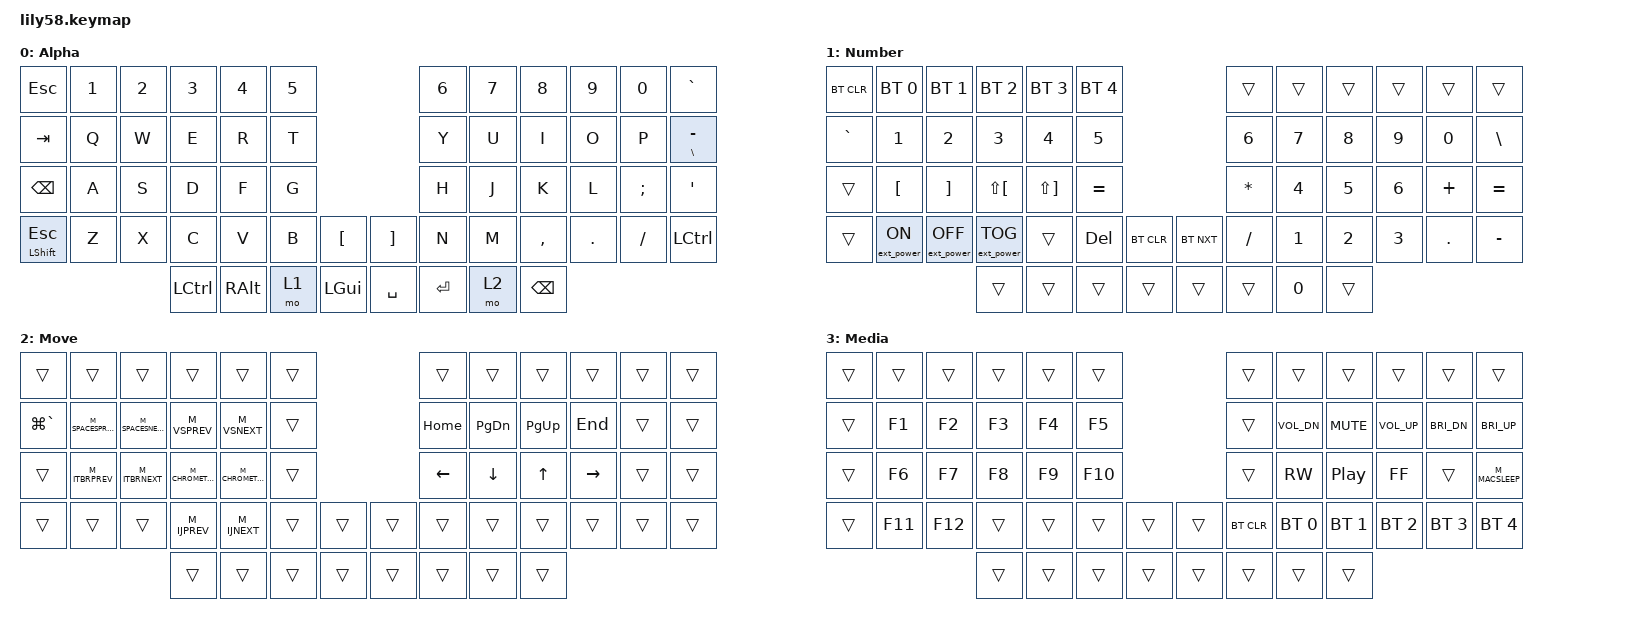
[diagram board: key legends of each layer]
/*
 * Copyright (c) 2020 The ZMK Contributors
 *
 * SPDX-License-Identifier: MIT
 */

#include <behaviors.dtsi>
#include <dt-bindings/zmk/bt.h>
#include <dt-bindings/zmk/ext_power.h>
#include <dt-bindings/zmk/keys.h>

/ {
    combos {
        compatible = "zmk,combos";

        BRACKETS {
            bindings = <&mt RIGHT_BRACKET LBKT>;
            key-positions = <9 10>;
            layers = <0>;
        };
    };

    conditional_layers {
        compatible = "zmk,conditional-layers";

        tri_layer {
            if-layers = <1 2>;
            then-layer = <3>;
        };
    };

    macros {
        M_VSPREV: M_VSPREV {
            compatible = "zmk,behavior-macro";
            label = "M_VSPREV";
            #binding-cells = <0>;
            bindings = <&kp LC(MINUS)>;
        };
        M_VSNEXT: M_VSNEXT {
            compatible = "zmk,behavior-macro";
            label = "M_VSNEXT";
            #binding-cells = <0>;
            bindings = <&kp LC(LS(MINUS))>;
        };
        M_IJPREV: M_IJPREV {
            compatible = "zmk,behavior-macro";
            label = "M_IJPREV";
            #binding-cells = <0>;
            bindings = <&kp LG(LBKT)>;
        };
        M_IJNEXT: M_IJNEXT {
            compatible = "zmk,behavior-macro";
            label = "M_IJNEXT";
            #binding-cells = <0>;
            bindings = <&kp LG(RBKT)>;
        };
        M_ITBRPREV: M_ITBRPREV {
            compatible = "zmk,behavior-macro";
            label = "M_ITBRPREV";
            #binding-cells = <0>;
            bindings = <&kp LG(LEFT)>;
        };
        M_ITBRNEXT: M_ITBRNEXT {
            compatible = "zmk,behavior-macro";
            label = "M_ITBRNEXT";
            #binding-cells = <0>;
            bindings = <&kp LG(RIGHT)>;
        };
        M_SPACESNEXT: M_SPACESNEXT {
            compatible = "zmk,behavior-macro";
            label = "M_SPACESNEXT";
            #binding-cells = <0>;
            bindings = <&kp LC(RIGHT)>;
        };
        M_SPACESPREV: M_SPACESPREV {
            compatible = "zmk,behavior-macro";
            label = "M_SPACESPREV";
            #binding-cells = <0>;
            bindings = <&kp LC(LEFT)>;
        };
        M_CHROMETABNEXT: M_CHROMETABNEXT {
            compatible = "zmk,behavior-macro";
            label = "M_CHROMETABNEXT";
            #binding-cells = <0>;
            bindings = <&kp LG(LA(RIGHT))>;
        };
        M_CHROMETABPREV: M_CHROMETABPREV {
            compatible = "zmk,behavior-macro";
            label = "M_CHROMETABPREV";
            #binding-cells = <0>;
            bindings = <&kp LG(LA(LEFT))>;
        };
        M_MACSLEEP: M_MACSLEEP {
            compatible = "zmk,behavior-macro";
            label = "M_MACSLEEP";
            #binding-cells = <0>;
            bindings = <&kp LG(LA(C_EJECT))>;
        };
    };

    keymap {
        compatible = "zmk,keymap";

        BASE_LAYER {
            label = "Alpha";
            bindings = <
       &kp ESC  &kp N1  &kp N2     &kp N3    &kp N4  &kp N5                          &kp N6  &kp N7         &kp N8   &kp N9    &kp N0            &kp GRAVE
       &kp TAB   &kp Q   &kp W      &kp E     &kp R   &kp T                           &kp Y   &kp U          &kp I    &kp O     &kp P  &mt BACKSLASH MINUS
      &kp BSPC   &kp A   &kp S      &kp D     &kp F   &kp G                           &kp H   &kp J          &kp K    &kp L  &kp SEMI              &kp SQT
&mt LSHIFT ESC   &kp Z   &kp X      &kp C     &kp V   &kp B  &kp LBKT     &kp RBKT    &kp N   &kp M      &kp COMMA  &kp DOT  &kp FSLH            &kp LCTRL
                                &kp LCTRL  &kp RALT   &mo 1  &kp LGUI    &kp SPACE  &kp RET   &mo 2  &kp BACKSPACE
            >;

//                        sensor-bindings = <&inc_dec_kp C_VOL_UP C_VOL_DN>;
        };

        NUM_LAYER {
            label = "Number";
            bindings = <
&bt BT_CLR      &bt BT_SEL 0       &bt BT_SEL 1       &bt BT_SEL 2  &bt BT_SEL 3  &bt BT_SEL 4                               &trans  &trans  &trans  &trans    &trans     &trans
 &kp GRAVE            &kp N1             &kp N2             &kp N3        &kp N4        &kp N5                               &kp N6  &kp N7  &kp N8  &kp N9    &kp N0   &kp BSLH
    &trans          &kp LBKT           &kp RBKT       &kp LS(LBKT)  &kp LS(RBKT)     &kp EQUAL                            &kp ASTRK  &kp N4  &kp N5  &kp N6  &kp PLUS  &kp EQUAL
    &trans  &ext_power EP_ON  &ext_power EP_OFF  &ext_power EP_TOG        &trans    &kp DELETE  &bt BT_CLR    &bt BT_NXT  &kp SLASH  &kp N1  &kp N2  &kp N3   &kp DOT  &kp MINUS
                                                            &trans        &trans        &trans  &trans        &trans         &trans  &kp N0  &trans
            >;

//                        sensor-bindings = <&inc_dec_kp C_VOL_UP C_VOL_DN>;
        };

        NAV_LAYER {
            label = "Move";
            bindings = <
       &trans         &trans         &trans            &trans            &trans  &trans                            &trans         &trans        &trans           &trans  &trans  &trans
&kp LG(GRAVE)  &M_SPACESPREV  &M_SPACESNEXT         &M_VSPREV         &M_VSNEXT  &trans                          &kp HOME  &kp PAGE_DOWN     &kp PG_UP          &kp END  &trans  &trans
       &trans    &M_ITBRPREV    &M_ITBRNEXT  &M_CHROMETABPREV  &M_CHROMETABNEXT  &trans                    &kp LEFT_ARROW       &kp DOWN  &kp UP_ARROW  &kp RIGHT_ARROW  &trans  &trans
       &trans         &trans         &trans         &M_IJPREV         &M_IJNEXT  &trans  &trans    &trans          &trans         &trans        &trans           &trans  &trans  &trans
                                                       &trans            &trans  &trans  &trans    &trans          &trans         &trans        &trans
            >;

//                        sensor-bindings = <&inc_dec_kp C_VOL_UP C_VOL_DN>;
        };

        ADJUST_LAYER {
            label = "Media";
            bindings = <
&trans   &trans   &trans  &trans  &trans   &trans                        &trans        &trans        &trans        &trans        &trans        &trans
&trans   &kp F1   &kp F2  &kp F3  &kp F4   &kp F5                        &trans  &kp C_VOL_DN    &kp C_MUTE  &kp C_VOL_UP  &kp C_BRI_DN  &kp C_BRI_UP
&trans   &kp F6   &kp F7  &kp F8  &kp F9  &kp F10                        &trans      &kp C_RW      &kp C_PP      &kp C_FF        &trans   &M_MACSLEEP
&trans  &kp F11  &kp F12  &trans  &trans   &trans  &trans    &trans  &bt BT_CLR  &bt BT_SEL 0  &bt BT_SEL 1  &bt BT_SEL 2  &bt BT_SEL 3  &bt BT_SEL 4
                          &trans  &trans   &trans  &trans    &trans      &trans        &trans        &trans
            >;

//                        sensor-bindings = <&inc_dec_kp C_VOL_UP C_VOL_DN>;
        };
    };
};
